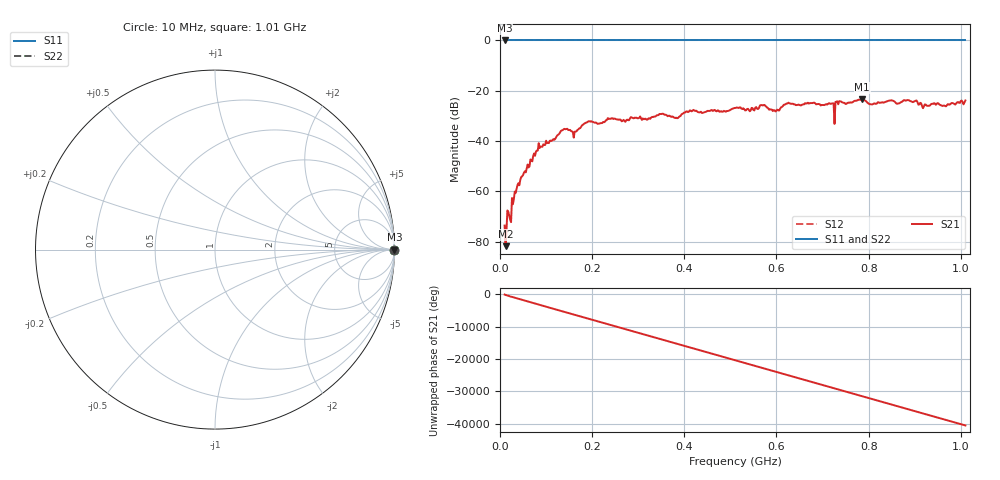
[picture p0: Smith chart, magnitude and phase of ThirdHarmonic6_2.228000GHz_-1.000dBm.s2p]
! 8/17/2025 2:31:02 AM
! C:\ANRITSUVNA\TEMP\TEMP.S2P
! CHANNEL.1
! TR.MEASUREMENT
! RAW.DATA
! RF.CORRECTION.OFF
! AVERAGING.OFF
! IF.BANDWIDTH: 5KHZ
! SWEEPTYPE:  FREQ.SWEEP(Linear)
! Reference Plane Port Info
! PORT:  PORT1  PORT2
! DISTANCE:  0  m  0  m
! TIME:  0  s  0  s
! PHASE.OFFSET:  0  deg.  0  deg.
! LOSS:  0  dB  0  dB
! REF.LOSS:  0  dB  0  dB
! REF.FREQ:  0  Hz  0  Hz
! Power Info
! POWER:  -20  dBm  -20  dBm
! EFF.POWER:  -20  dBm  -20  dBm
! SOURCE.ATTEN:  0  dB  0  dB
! TEST.ATTEN:  0  dB  0  dB
# GHZ S RI R 50.0
! FREQ.GHZ  S11RE  S11IM  S21RE  S21IM  S12RE  S12IM  S22RE  S22IM
!; PortSelection: Port_12
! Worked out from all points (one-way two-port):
!   501 points, 10 MHz to 1.01 GHz, reference 50 ohm
!   highest |S21| = -23.38 dB at 786 MHz (marker M1); lowest = -81.8 dB at 12 MHz (marker M2)
!   lowest |S11| = 0.0 dB at 10 MHz (marker M3)
!   |S11| at or under -10 dB: nowhere
!   |S22| runs from 0.0 to 0.0 dB; largest |S21 - S12| = 1.1
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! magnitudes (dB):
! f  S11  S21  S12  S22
! 10 MHz  0.0  -73.6  0.0  0.0
! 12 MHz  0.0  -81.8  0.0  0.0
! 24 MHz  0.0  -72.3  0.0  0.0
! 36 MHz  0.0  -59.0  0.0  0.0
! 82 MHz  0.0  -43.8  0.0  0.0
! 136 MHz  0.0  -35.7  0.0  0.0
! 162 MHz  0.0  -36.3  0.0  0.0
! 178 MHz  0.0  -33.8  0.0  0.0
! 344 MHz  0.0  -29.7  0.0  0.0
! 382 MHz  0.0  -30.7  0.0  0.0
! 416 MHz  0.0  -28.2  0.0  0.0
! 510 MHz  0.0  -26.9  0.0  0.0
! 570 MHz  0.0  -25.9  0.0  0.0
! 596 MHz  0.0  -27.8  0.0  0.0
! 624 MHz  0.0  -25.1  0.0  0.0
! 678 MHz  0.0  -24.9  0.0  0.0
! 722 MHz  0.0  -25.1  0.0  0.0
! 732 MHz  0.0  -24.2  0.0  0.0
! 786 MHz  0.0  -23.4  0.0  0.0
! 844 MHz  0.0  -23.9  0.0  0.0
! 920 MHz  0.0  -26.2  0.0  0.0
! 1.01 GHz  0.0  -23.9  0.0  0.0
